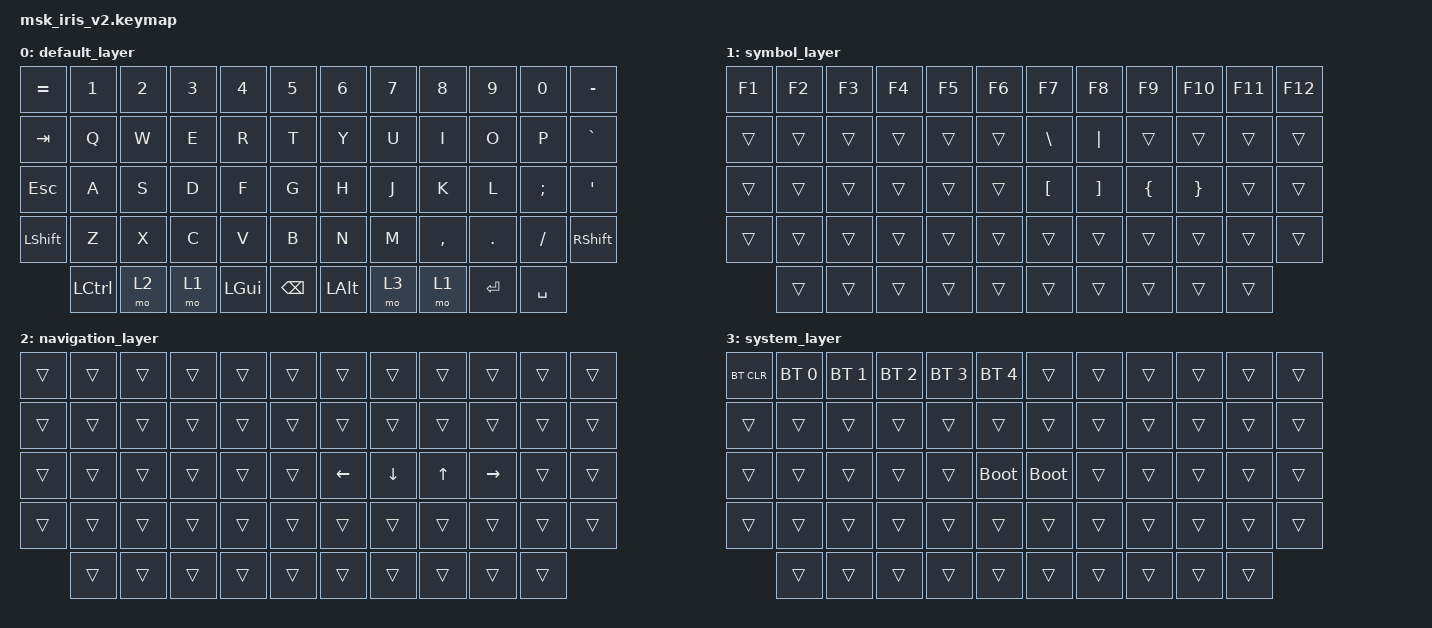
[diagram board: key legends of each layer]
/*
 * Copyright (c) 2020 The ZMK Contributors
 *
 * SPDX-License-Identifier: MIT
 */

#include <behaviors.dtsi>
#include <dt-bindings/zmk/keys.h>
#include <dt-bindings/zmk/bt.h>
#include <dt-bindings/zmk/ext_power.h>

/ {
    behaviors {
      /*
      hm: homerow_mods {
            compatible = "zmk,behavior-hold-tap";
            flavor = "balanced";
            #binding-cells = <2>;
            tapping-term-ms = <280>;
            quick-tap-ms = <150>;
            require-prior-idle-ms = <175>;
            bindings = <&kp>, <&kp>;
            hold-trigger-on-release;
        };
    };
    combos {
        compatible = "zmk,combos";
        combo_enter {
            timeout-ms = <50>;
            key-positions = <31 32>;
            bindings = <&kp ENTER>;
        };
        combo_backspace {
            timeout-ms = <50>;
            key-positions = <27 28>;
            bindings = <&kp BSPC>;
        };
    };
   */
    };
    keymap {
        compatible = "zmk,keymap";

        default_layer {
            // ------------------------------------------------------------------------------------------------------------
            // |  ESC   |  1  |  2  |  3   |  4   |  5   |                   |  6   |  7    |  8    |  9   |   0   |    -   |
            // |  TAB   |  Q  |  W  |  E   |  R   |  T   |                   |  Y   |  U    |  I    |  O   |   P   |    `   |
            // |  CTRL  |  A  |  S  |  D   |  F   |  G   |                   |  H   |  J    |  K    |  L   |   ;   |    '   |
            // | LSHIFT |  Z  |  X  |  C   |  V   |  B   |                   |  N   |  M    |  ,    |  .   |   /   | RSHIFT |
          bindings = <
            &kp EQUAL &kp N1    &kp N2      &kp N3        &kp N4      &kp N5         &kp N6           &kp N7       &kp N8         &kp N9    &kp N0          &kp MINUS
            &kp TAB   &kp Q     &kp W       &kp E         &kp R       &kp T          &kp Y            &kp U        &kp I          &kp O     &kp P           &kp GRAVE 
            &kp ESC   &kp A     &kp S       &kp D         &kp F       &kp G          &kp H            &kp J        &kp K          &kp L     &kp SEMI        &kp SQT
            &kp LSHFT &kp Z     &kp X       &kp C         &kp V       &kp B          &kp N            &kp M        &kp COMMA      &kp DOT   &kp FSLH        &kp RSHFT
                      &kp LCTRL &mo 2       &mo 1         &kp LGUI    &kp BSPC       &kp LALT         &mo 3        &mo 1          &kp ENTER &kp SPACE
          >;
        };

        symbol_layer {
          bindings = <
            &kp F1     &kp F2           &kp F3            &kp F4            &kp F5       &kp F6           &kp F7         &kp F8    &kp F9    &kp F10   &kp F11   &kp F12
            &trans     &trans           &trans            &trans            &trans       &trans           &kp BACKSLASH  &kp PIPE  &trans    &trans    &trans    &trans
            &trans     &trans           &trans            &trans            &trans       &trans           &kp LBKT       &kp RBKT  &kp LBRC  &kp RBRC  &trans    &trans
            &trans     &trans           &trans            &trans            &trans       &trans           &trans         &trans    &trans    &trans    &trans    &trans
                       &trans           &trans            &trans            &trans       &trans           &trans         &trans    &trans    &trans    &trans    
          >;
        };

        navigation_layer {
          bindings = <
            &trans     &trans           &trans            &trans            &trans       &trans           &trans      &trans    &trans    &trans    &trans    &trans
            &trans     &trans           &trans            &trans            &trans       &trans           &trans      &trans    &trans    &trans    &trans    &trans
            &trans     &trans           &trans            &trans            &trans       &trans           &kp LEFT    &kp DOWN  &kp UP    &kp RIGHT &trans    &trans
            &trans     &trans           &trans            &trans            &trans       &trans           &trans      &trans    &trans    &trans    &trans    &trans
                       &trans           &trans            &trans            &trans       &trans           &trans      &trans    &trans    &trans    &trans    
          >;
        };

        system_layer {
          bindings = <
            &bt BT_CLR &bt BT_SEL 0     &bt BT_SEL 1      &bt BT_SEL 2      &bt BT_SEL 3 &bt BT_SEL 4     &trans      &trans    &trans    &trans    &trans    &trans 
            &trans     &trans           &trans            &trans            &trans       &trans           &trans      &trans    &trans    &trans    &trans    &trans
            &trans     &trans           &trans            &trans            &trans       &bootloader      &bootloader &trans    &trans    &trans    &trans    &trans
            &trans     &trans           &trans            &trans            &trans       &trans           &trans      &trans    &trans    &trans    &trans    &trans
                       &trans           &trans            &trans            &trans       &trans           &trans      &trans    &trans    &trans    &trans    
          >;
        };
    };
};
